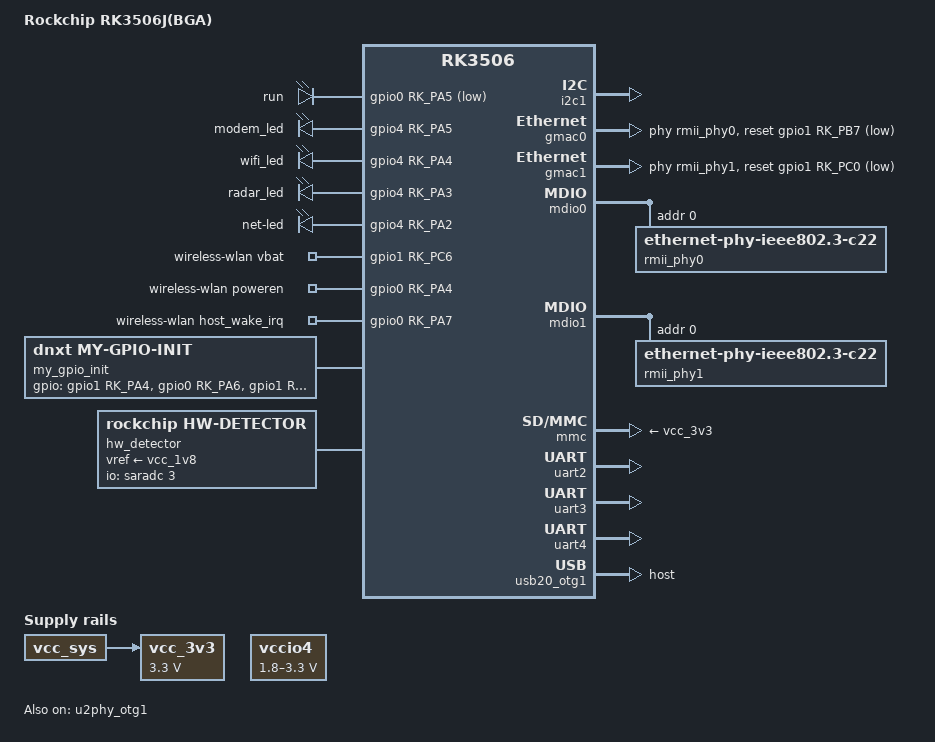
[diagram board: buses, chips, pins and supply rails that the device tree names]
// SPDX-License-Identifier: (GPL-2.0+ OR MIT)
/*
 * Copyright (c) 2024 Rockchip Electronics Co., Ltd.
 */

/dts-v1/;

#include "rk3506-my-base-emmc.dtsi"

/ {
	model = "Rockchip RK3506J(BGA)";
	compatible = "rockchip,rk3506J", "rockchip,rk3506";

	leds {
		compatible = "gpio-leds";
		status = "okay";

		heart_led: heart_led {
			label = "run";
			gpios = <&gpio0 RK_PA5 GPIO_ACTIVE_LOW>;
			linux,default-trigger = "heartbeat";
			default-state = "off";
		};

		modem_led: modem-led {
			label = "modem_led";
			gpios = <&gpio4 RK_PA5 GPIO_ACTIVE_HIGH>;
			linux,default-trigger = "none";
			default-state = "off";
		};

		wifi_led: wifi-led {
			label = "wifi_led";
			gpios = <&gpio4 RK_PA4 GPIO_ACTIVE_HIGH>;
			linux,default-trigger = "none";
			default-state = "off";
		};


		radar_led: radar-led {
			label = "radar_led";
			gpios = <&gpio4 RK_PA3 GPIO_ACTIVE_HIGH>;
			linux,default-trigger = "none";
			default-state = "off";
		};

		net_led: net-led {
			label = "net-led";
			gpios = <&gpio4 RK_PA2 GPIO_ACTIVE_HIGH>;
			linux,default-trigger = "none";
			default-state = "off";
		};
	};

	wireless-wlan {
		compatible = "wlan-platdata";
		rockchip,grf = <&grf>;
		keep_wifi_power_on = <1>;
		pinctrl-names = "default";
		pinctrl-0 = <&wifi_gpios>;
		WIFI,vbat_gpio = <&gpio1 RK_PC6 GPIO_ACTIVE_HIGH>;
		WIFI,poweren_gpio = <&gpio0 RK_PA4 GPIO_ACTIVE_HIGH>;
		WIFI,host_wake_irq = <&gpio0 RK_PA7 GPIO_ACTIVE_HIGH>;
		status = "okay";
	};

	my_gpio_init: my-gpio-init {
		compatible = "dnxt,my-gpio-init";
		status = "okay";

		init-delay-ms = <0>;

		gpios = <&gpio1 RK_PA4 GPIO_ACTIVE_HIGH    // 0 PHYON-H
				 &gpio0 RK_PA6 GPIO_ACTIVE_HIGH    // 1 HOST-WAKE-WIFI
				 &gpio1 RK_PB5 GPIO_ACTIVE_HIGH    // 2 5GON-H
				 &gpio1 RK_PC1 GPIO_ACTIVE_HIGH    // 3 5G-PWRKEY-H
				 &gpio0 RK_PB1 GPIO_ACTIVE_HIGH    // 4 5GRST-L
				 &gpio1 RK_PC7 GPIO_ACTIVE_HIGH    // 5 GD-ON-H
				 &gpio1 RK_PC4 GPIO_ACTIVE_HIGH    // 6 GD-RST-L
				 &gpio1 RK_PB6 GPIO_ACTIVE_HIGH    // 7 BIIION-H
				 &gpio1 RK_PD0 GPIO_ACTIVE_HIGH    // 8 BIII-PWRKEY-H
				 &gpio1 RK_PD1 GPIO_ACTIVE_HIGH    // 9 BIII-RST-L
				 &gpio1 RK_PA5 GPIO_ACTIVE_HIGH>;  // 10 RADRON-H

		gpio-names = "phyon_h",
		             "host_wake_wifi",
		             "modem_on_h",
		             "modem_pwrkey_h",
		             "modem_rst_l",
		             "gd_on_h",
		             "gd_rst_l",
		             "bd3_on_h",
		             "bd3_pwrkey_h",
		             "radar_on_h";

		//                  0 1 2 3 4 5 6 7 8 9 10 11 12 13
		gpio-init-states = <1 1 1 1 1 0 1 0 1 1 0>;

		// format: <gpio_index delay_ms>
		gpio-delays = <5 10 7 10>;

		// format: <gpio_index delay_ms target_state>
		gpio-state-delays = <5 10 1 7 10 1 10 10 1>;
	};

	vccio4: mmcio-gpio-regulator {
		compatible = "regulator-gpio";

		regulator-name = "mmcio-gpio-supply";
		regulator-min-microvolt = <1800000>;
		regulator-max-microvolt = <3300000>;

		pinctrl-names = "default";
		pinctrl-0 = <&vccio4_gpio>;

		gpios = <&gpio0 RK_PD0 GPIO_ACTIVE_HIGH>;
		gpios-states = <0>;
		states = <3300000 0x1>,
				 <1800000 0x0>;

		startup-delay-us = <100000>;
	};

	vcc_3v3: vcc-3v3 {
		compatible = "regulator-fixed";
		regulator-name = "vcc_3v3";
		regulator-always-on;
		regulator-boot-on;
		regulator-min-microvolt = <3300000>;
		regulator-max-microvolt = <3300000>;
		vin-supply = <&vcc_sys>;
	};

	hw_detector: hw-detector {
		compatible = "rockchip,hw-detector";
		status = "okay";

		io-channels = <&saradc 3>;
		io-channel-names = "hw_version";

		// 硬件版本检测参数
		hw-version-adc-channel = <0>; // 对应io-channels中的第一个(通道3)
		hw-version-thresholds = <
								/* min(mV) max(mV) version */
								0       200     0       // 版本1: 0-200mV (0.0V)
								1600    2000    1       // 版本2: 1.6-2.0V (1.8V)
								800     1000    2       // 版本3: 800-1000mV (0.9V)
								250     350     3       // 版本4: 250-350mV (0.3V)
								>;

		sample-count = <5>;        // 每次采样次数
		sample-interval-ms = <10>; // 采样间隔
		debounce-count = <3>;      // 去抖动次数

        vref-supply = <&vcc_1v8>;
	};
};

&i2c1 {
	pinctrl-names = "default";
	pinctrl-0 = <&rm_io13_i2c1_scl &rm_io8_i2c1_sda>;
	status = "okay";
};

&gmac0 {
	clock_in_out = "input";

	snps,reset-gpio = <&gpio1 RK_PB7 GPIO_ACTIVE_LOW>;
	snps,reset-active-low;
	snps,reset-delays-us = <0 20000 100000>;

	pinctrl-names = "default";
	pinctrl-0 = <&eth_rmii0_miim_pins
				 &eth_rmii0_tx_bus2_pins
				 &eth_rmii0_rx_bus2_pins
				 &eth_rmii0_clk_pins>;

	phy-handle = <&rmii_phy0>;
	status = "okay";
};

&gmac1 {
	clock_in_out = "input";

	snps,reset-gpio = <&gpio1 RK_PC0 GPIO_ACTIVE_LOW>;
	snps,reset-active-low;
	snps,reset-delays-us = <0 20000 100000>;

	pinctrl-names = "default";
	pinctrl-0 = <&eth_rmii1_miim_pins
				 &eth_rmii1_tx_bus2_pins
				 &eth_rmii1_rx_bus2_pins
				 &eth_rmii1_clk_pins>;

	phy-handle = <&rmii_phy1>;
	status = "okay";
};

&mdio0 {
	rmii_phy0: phy@0 {
		compatible = "ethernet-phy-ieee802.3-c22";
		reg = <0x0>;
		clocks = <&cru CLK_MAC_OUT>;
		assigned-clocks = <&cru CLK_MAC_OUT>;
		assigned-clock-rates = <25000000>;
	};
};

&mdio1 {
	rmii_phy1: phy@0 {
		compatible = "ethernet-phy-ieee802.3-c22";
		reg = <0x0>;
		clocks = <&cru CLK_MAC_OUT>;
		assigned-clocks = <&cru CLK_MAC_OUT>;
		assigned-clock-rates = <25000000>;
	};
};

&mmc {
	vqmmc-supply = <&vccio4>;
	vmmc-supply = <&vcc_3v3>;
};

&pinctrl {
	wireless-wlan {
		wifi_gpios: wifi-gpios {
			rockchip,pins = <1 RK_PC6 RK_FUNC_GPIO &pcfg_pull_none>,
							<0 RK_PA4 RK_FUNC_GPIO &pcfg_pull_none>,
							<0 RK_PA7 RK_FUNC_GPIO &pcfg_pull_up>;
		};
	};

	sdmmc {
		vccio4_gpio: vccio4_gpio {
			rockchip,pins = <0 RK_PD0 RK_FUNC_GPIO &pcfg_pull_none>;
		};
	};
};

&ramoops {
	reg = <0x1d3000 0x2d000>;
	status = "okay";
};

&uart2 {// gd rs422
	pinctrl-names = "default";
	pinctrl-0 = <&rm_io27_uart2_rx &rm_io28_uart2_tx>;
	dma-names = "tx", "rx";
	status = "okay";
};

&uart3 {// 5G modem
	pinctrl-names = "default";
	pinctrl-0 = <&rm_io19_uart3_rx &rm_io18_uart3_tx &rm_io17_uart3_ctsn &rm_io16_uart3_rtsn>;
	dma-names = "tx", "rx";
	status = "okay";
};

&uart4 {// beidou3 uart0
	pinctrl-names = "default";
	pinctrl-0 = <&rm_io30_uart4_rx &rm_io31_uart4_tx>;
	dma-names = "tx", "rx";
	status = "okay";
};

&u2phy_otg1 {
	status = "okay";
};

&usb20_otg1 {
	dr_mode = "host";
	status = "okay";
};
